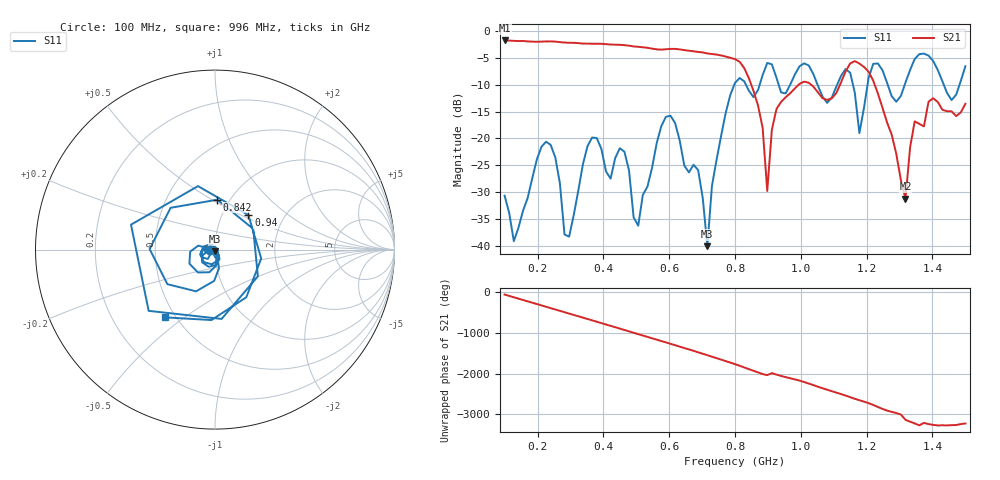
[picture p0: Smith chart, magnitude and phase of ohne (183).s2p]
! NanoVNA-App
! Date: 2025-09-25 14:22:13
! Start: 100MHz Stop: 1,5GHz Points: 101
! S-Parameter data: F S11 S21 S12 S22
# Hz S RI R 50
!  Frequency  S11_Real  S11_Imag  S21_Real  S21_Imag  S12_Real  S12_Imag  S22_Real  S22_Imag
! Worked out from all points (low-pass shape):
!   101 points, 100 MHz to 1.5 GHz, reference 50 ohm
!   highest |S21| = -1.79 dB at 100 MHz (marker M1); lowest = -31.2 dB at 1.318 GHz (marker M2)
!   |S21| within 3 dB of the highest: start of sweep to 772.2 MHz
!   lowest |S11| = -40.0 dB at 716 MHz (marker M3), VSWR 1.02, Z = 49.7 - j0.963 ohm
!   |S11| at or under -10 dB: start of sweep to 798 MHz; 833 MHz to 875.1 MHz (42.04 MHz wide, 4.92 % of centre); 1.051 GHz to 1.111 GHz (59.87 MHz wide, 5.54 % of centre) (the widest 3 of 7)
!   S12 and S22 are empty: the file has one direction only
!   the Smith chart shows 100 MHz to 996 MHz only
!   S11 on the Smith chart (normalised r, x): 100 MHz: 0.94, -0.01; 842 MHz: 0.88, +0.53; 940 MHz: 1.33, +0.55; 996 MHz: 0.44, -0.43
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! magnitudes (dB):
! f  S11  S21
! 100 MHz  -30.6  -1.8
! 128 MHz  -39.1  -1.9
! 226 MHz  -20.6  -2.0
! 296 MHz  -38.2  -2.2
! 338 MHz  -24.8  -2.4
! 464 MHz  -22.5  -2.7
! 506 MHz  -36.2  -3.0
! 576 MHz  -17.7  -3.5
! 688 MHz  -25.9  -3.9
! 716 MHz  -40.0  -4.2
! 800 MHz  -9.7  -5.3
! 842 MHz  -11.1  -8.8
! 898 MHz  -6.0  -29.8
! 940 MHz  -11.4  -13.2
! 996 MHz  -6.6  -9.9
! 1.038 GHz  -8.0  -10.4
! 1.178 GHz  -19.0  -6.1
! 1.22 GHz  -6.1  -9.3
! 1.276 GHz  -12.1  -19.3
! 1.318 GHz  -9.6  -31.2
! 1.346 GHz  -5.2  -16.8
! 1.5 GHz  -6.6  -13.6
